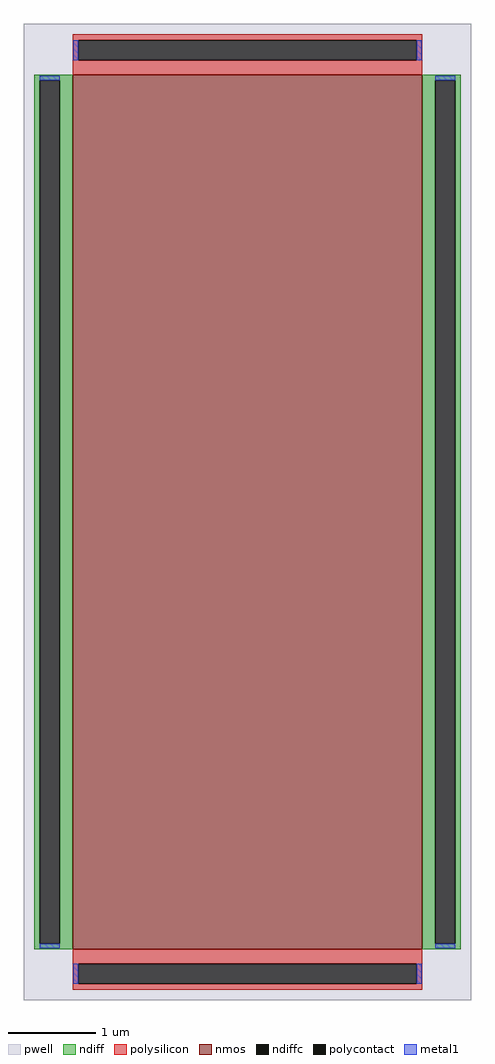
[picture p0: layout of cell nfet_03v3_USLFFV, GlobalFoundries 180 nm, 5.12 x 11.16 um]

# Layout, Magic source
magic
tech gf180mcuD
magscale 1 10
<< pwell >>
rect -512 -1116 512 1116
<< nmos >>
rect -400 -1000 400 1000
<< ndiff >>
rect -488 987 -400 1000
rect -488 -987 -475 987
rect -429 -987 -400 987
rect -488 -1000 -400 -987
rect 400 987 488 1000
rect 400 -987 429 987
rect 475 -987 488 987
rect 400 -1000 488 -987
<< ndiffc >>
rect -475 -987 -429 987
rect 429 -987 475 987
<< polysilicon >>
rect -400 1079 400 1092
rect -400 1033 -387 1079
rect 387 1033 400 1079
rect -400 1000 400 1033
rect -400 -1033 400 -1000
rect -400 -1079 -387 -1033
rect 387 -1079 400 -1033
rect -400 -1092 400 -1079
<< polycontact >>
rect -387 1033 387 1079
rect -387 -1079 387 -1033
<< metal1 >>
rect -398 1033 -387 1079
rect 387 1033 398 1079
rect -475 987 -429 998
rect -475 -998 -429 -987
rect 429 987 475 998
rect 429 -998 475 -987
rect -398 -1079 -387 -1033
rect 387 -1079 398 -1033
<< properties >>
string gencell nfet_03v3
string library gf180mcu
string parameters w 10 l 4 m 1 nf 1 diffcov 100 polycov 100 guard 0 glc 0 grc 0 gtc 0 gbc 0 tbcov 100 rlcov 100 topc 1 botc 1 poverlap 0 doverlap 1 lmin 0.28 wmin 0.22 class mosfet full_metal 0 compatible {nfet_03v3 nfet_05v0 nfet_06v0 nfet_06v0_nvt}
<< end >>
